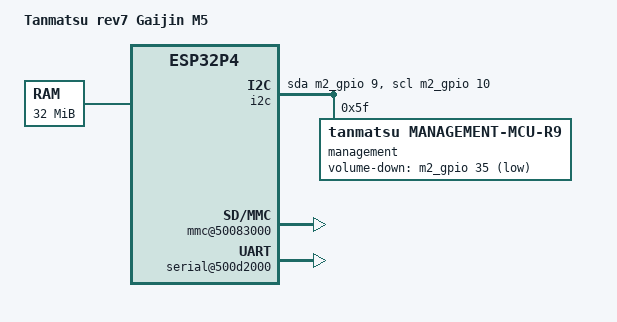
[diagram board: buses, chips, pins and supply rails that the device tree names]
// SPDX-License-Identifier: GPL-2.0-only
/dts-v1/;
/ {
    #address-cells = <1>;
    #size-cells = <1>;
    model = "Tanmatsu rev7 Gaijin M5";
    compatible = "tanmatsu,gaijin-v1", "espressif,esp32p4";
    tanmatsu,board-revision = <7>;
    cpus {
        #address-cells = <1>;
        #size-cells = <0>;
        timebase-frequency = <16000000>;
        cpu@0 {
            device_type = "cpu";
            compatible = "riscv";
            reg = <0>;
            // Linux's FPU context support requires D; P4 has F only.
            // Deliberately expose the supported soft-float execution subset.
            riscv,isa = "rv32imac";
            mmu-type = "riscv,none";
            status = "okay";
            interrupt-controller {
                compatible = "riscv,cpu-intc";
                #interrupt-cells = <1>;
                #address-cells = <0>;
                interrupt-controller;
            };
        };
    };
    memory@48000000 {
        device_type = "memory";
        reg = <0x48000000 0x02000000>;
    };
    reserved-memory {
        #address-cells = <1>;
        #size-cells = <1>;
        ranges;
        display_mem: framebuffer@48e00000 {
            reg = <0x48e00000 0x000bc000>; // RGB565 pixels + one DMA descriptor
        };
    };
    chosen {
        stdout-path = "/soc/serial@500d2000";
        // Loader supplies bootargs and optional external initrd addresses.
    };
    i2c {
        compatible = "i2c-gpio";
        #address-cells = <1>;
        #size-cells = <0>;
        sda-gpios = <&m2_gpio 9 6>; // active-high, open-drain
        scl-gpios = <&m2_gpio 10 6>;
        i2c-gpio,delay-us = <5>; // approximately 100 kHz, clock stretching
        i2c-gpio,timeout-ms = <10>;
        management@5f {
            compatible = "tanmatsu,management-mcu-r9";
            reg = <0x5f>;
            volume-down-gpios = <&m2_gpio 35 1>; // active-low
            // GPIO1 MCU IRQ remains masked; M2 polls full snapshots.
        };
    };
    soc {
        #address-cells = <1>;
        #size-cells = <1>;
        compatible = "simple-bus";
        ranges;
        power-controller@5010800c {
            compatible = "tanmatsu,rev7-power";
            reg = <0x5010800c 0x100>; // IDF rtc_retain_mem_t.custom (CRC excluded)
        };
        framebuffer@50081000 {
            compatible = "tanmatsu,rev7-fb";
            reg = <0x50081000 0x1000>, <0x500a0800 0x100>;
            memory-region = <&display_mem>;
            dma-noncoherent;
            interrupts-extended = <&clic 18 24 4>; // DW-GDMA, level-high
            // Loader enables only after successful panel and DMA setup.
            status = "disabled";
        };
        m2_gpio: gpio@500e0000 {
            compatible = "tanmatsu,rev7-m2-gpio";
            reg = <0x500e0000 0x800>, <0x500e1000 0x100>,
                  <0x5012b000 0x54>;
            gpio-controller;
            #gpio-cells = <2>;
        };
        // Native slot 0: D0..D3 GPIO39..42, CLK43, CMD44; LDO4 retained.
        mmc@50083000 {
            compatible = "tanmatsu,rev7-sd";
            // IDMAC cannot snoop CPU caches covering PSRAM.
            dma-noncoherent;
            reg = <0x50083000 0x400>, <0x500e6018 0x24>,
                  <0x501151d8 0x4>, <0x500e10a0 0x18>;
            reg-names = "host", "clock", "ldo4", "iomux";
        };
        clic: interrupt-controller@20801000 {
            compatible = "espressif,esp32p4-clic";
            reg = <0x20801000 0x3c0>, <0x500d6000 0x200>;
            #interrupt-cells = <3>;
            #address-cells = <0>;
            interrupt-controller;
        };
        timer@500e2000 {
            compatible = "espressif,esp32p4-systimer";
            reg = <0x500e2000 0x100>;
            interrupts-extended = <&clic 17 53 4>; // level-high, not edge
        };
        serial@500d2000 {
            compatible = "espressif,esp32p4-usb-serial-jtag";
            reg = <0x500d2000 0x1000>;
            // Earlycon hands over to the polled ttyUJ0 console in M1.1.
        };
    };
};
